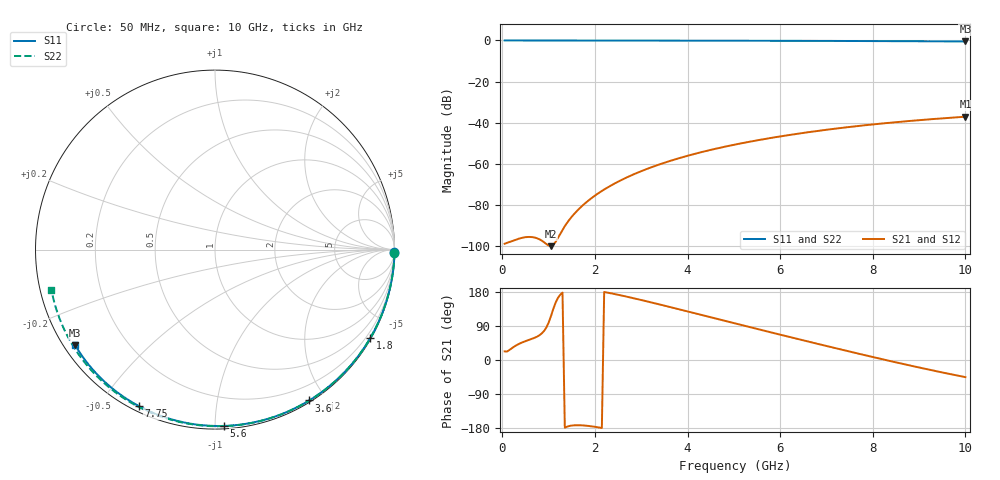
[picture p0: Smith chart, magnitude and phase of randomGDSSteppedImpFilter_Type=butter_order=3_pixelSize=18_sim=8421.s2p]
! freq	dB(S11)	phase(S11)	dB(S12)	phase(S12)
!  dB(S21)	phase(S21)	dB(S22)	phase(S22)
!S-par simulation data
#  GHz  S  DB  R 50
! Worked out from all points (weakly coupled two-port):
!   200 points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, 50 MHz to 10 GHz, reference 50 ohm
!   highest |S21| = -37.03 dB at 10 GHz (marker M1); lowest = -99.9 dB at 1.05 GHz (marker M2)
!   lowest |S11| = -0.5 dB at 10 GHz (marker M3), VSWR 34.46, Z = 1.59 - j15.5 ohm
!   |S11| at or under -10 dB: nowhere
!   |S22| runs from -0.6 to 0.0 dB; largest |S21 - S12| = 0
!   S11 on the Smith chart (normalised r, x): 50 MHz: open; 1.8 GHz: 0.03, -3.77; 3.6 GHz: 0.02, -1.80; 5.6 GHz: 0.02, -1.05; 7.75 GHz: 0.02, -0.62; 10 GHz: 0.03, -0.31
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0.05  -0.00 -0.8  -98.73 22.8  -98.73 22.8  -0.00 -1.0
0.55  -0.01 -9.2  -95.42 51.9  -95.42 51.9  -0.01 -10.6
1.05  -0.02 -17.5  -99.89 115.3  -99.89 115.3  -0.02 -20.0
1.7  -0.04 -28.1  -80.83 -172.3  -80.83 -172.3  -0.04 -32.2
1.75  -0.04 -28.9  -79.81 -172.7  -79.81 -172.7  -0.04 -33.1
1.8  -0.04 -29.7  -78.83 -173.2  -78.83 -173.2  -0.04 -34.0
1.95  -0.04 -32.2  -76.16 -175.4  -76.16 -175.4  -0.05 -36.8
2.1  -0.04 -34.6  -73.81 -178.3  -73.81 -178.3  -0.05 -39.5
2.3  -0.05 -37.8  -71.03 177.2  -71.03 177.2  -0.06 -43.2
2.5  -0.05 -41.0  -68.58 172.2  -68.58 172.2  -0.06 -46.8
2.9  -0.06 -47.2  -64.40 161.2  -64.40 161.2  -0.07 -53.9
3.4  -0.07 -55.0  -60.13 146.5  -60.13 146.5  -0.08 -62.7
3.6  -0.08 -58.0  -58.65 140.4  -58.65 140.4  -0.09 -66.2
4.3  -0.10 -68.5  -54.23 118.9  -54.23 118.9  -0.11 -78.0
5.05  -0.12 -79.4  -50.44 95.8  -50.44 95.8  -0.14 -90.3
5.6  -0.14 -87.2  -48.11 79.0  -48.11 79.0  -0.16 -99.0
6.15  -0.17 -94.7  -46.07 62.3  -46.07 62.3  -0.19 -107.6
6.7  -0.20 -102.2  -44.26 45.9  -44.26 45.9  -0.23 -116.0
7.75  -0.27 -116.0  -41.37 15.0  -41.37 15.0  -0.31 -131.9
8.35  -0.32 -123.8  -40.00 -2.0  -40.00 -2.0  -0.36 -140.9
9.2  -0.40 -134.9  -38.34 -25.1  -38.34 -25.1  -0.45 -153.8
10  -0.50 -145.6  -37.03 -45.3  -37.03 -45.3  -0.55 -166.2
